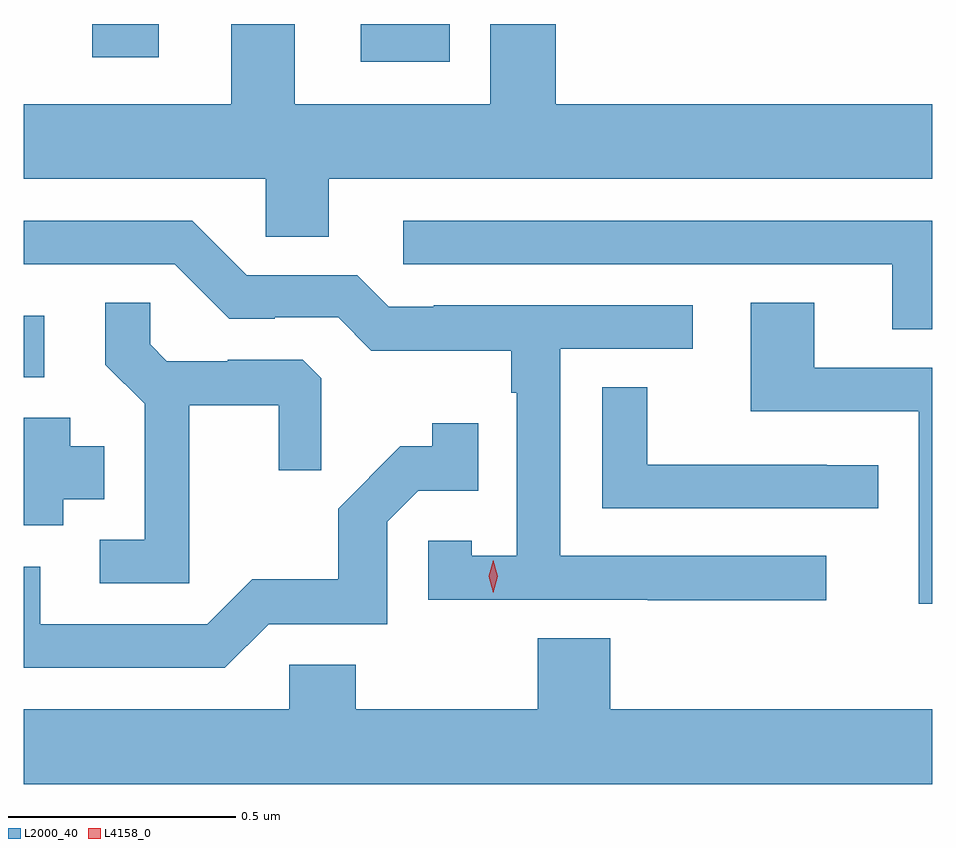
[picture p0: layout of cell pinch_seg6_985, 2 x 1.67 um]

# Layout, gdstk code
import gdstk
lib = gdstk.Library(unit=1e-6, precision=1e-09)
def R(c, l, rs):  # rectangles x0, y0, x1, y1
    for r in rs: c.add(gdstk.rectangle(r[:2], r[2:], *l))
def P(c, l, *ps):  # polygons
    for p in ps: c.add(gdstk.Polygon(p, *l))
L2000_40 = (2000, 40)
L4158_0 = (4158, 0)

pinch_seg6_985 = lib.new_cell('pinch_seg6_985')
R(pinch_seg6_985, L2000_40, [(358.783,921.591,358.828,921.727), (359.525,922.286,359.721,922.369), (358.934,922.296,359.08,922.369)])
P(pinch_seg6_985, L2000_40, [(359.455,922.028),(360.783,922.028),(360.783,922.192),(359.954,922.192),(359.954,922.369),(359.81,922.369),(359.81,922.192),(359.38,922.192),(359.38,922.369),(359.24,922.369),(359.24,922.192),(358.783,922.192),(358.783,922.028),(359.316,922.028),(359.316,921.901),(359.455,921.901)],
  [(360.783,921.936),(359.619,921.936),(359.619,921.84),(360.695,921.84),(360.695,921.697),(360.783,921.697)],
  [(360.55,921.198),(359.964,921.198),(359.964,921.654),(360.256,921.654),(360.256,921.75),(359.686,921.75),(359.686,921.747),(359.586,921.747),(359.517,921.816),(359.274,921.816),(359.154,921.936),(358.783,921.936),(358.783,921.84),(359.115,921.84),(359.235,921.72),(359.336,921.72),(359.336,921.723),(359.475,921.723),(359.548,921.65),(359.856,921.65),(359.856,921.557),(359.868,921.557),(359.868,921.199),(359.769,921.199),(359.769,921.231),(359.673,921.231),(359.673,921.102),(360.157,921.102),(360.157,921.1),(360.55,921.1)],
  [(360.783,921.612),(360.523,921.612),(360.523,921.755),(360.383,921.755),(360.383,921.516),(360.753,921.516),(360.753,921.093),(360.783,921.093)],
  [(359.147,921.53),(359.344,921.53),(359.344,921.387),(359.438,921.387),(359.438,921.589),(359.397,921.63),(359.232,921.63),(359.232,921.627),(359.098,921.627),(359.061,921.664),(359.061,921.755),(358.963,921.755),(358.963,921.619),(359.049,921.533),(359.049,921.234),(358.95,921.234),(358.95,921.138),(359.147,921.138)],
  [(360.664,921.398),(360.551,921.398),(360.551,921.399),(360.156,921.399),(360.156,921.569),(360.057,921.569),(360.057,921.303),(360.664,921.303)],
  [(358.87,921.323),(358.96,921.323),(358.96,921.439),(358.885,921.439),(358.885,921.502),(358.783,921.502),(358.783,921.266),(358.87,921.266)],
  [(359.322,921.048),(359.583,921.048),(359.583,921.273),(359.652,921.342),(359.783,921.342),(359.783,921.49),(359.682,921.49),(359.682,921.44),(359.612,921.44),(359.475,921.302),(359.475,921.147),(359.286,921.147),(359.187,921.048),(358.819,921.048),(358.819,921.174),(358.783,921.174),(358.783,920.952),(359.226,920.952)],
  [(360.783,920.86),(360.074,920.86),(360.074,921.017),(359.914,921.017),(359.914,920.86),(359.514,920.86),(359.514,920.958),(359.367,920.958),(359.367,920.86),(358.783,920.86),(358.783,920.696),(360.783,920.696)])
P(pinch_seg6_985, L4158_0, [(359.817,921.117),(359.817,921.117),(359.807,921.153),(359.817,921.189),(359.817,921.189),(359.817,921.189),(359.827,921.153),(359.817,921.117)])

lib.write_gds('pinch_seg6_985.gds')
